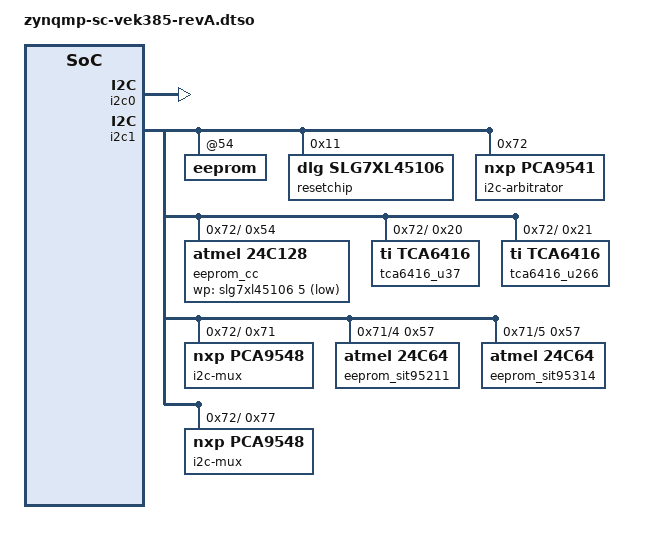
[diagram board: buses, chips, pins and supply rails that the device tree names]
// SPDX-License-Identifier: GPL-2.0
/*
 * dts file for SC on VEK385 revA (k24)
 *
 * (C) Copyright 2024, Advanced Micro Devices, Inc.
 *
 * Michal Simek <michal.simek@amd.com>
 */

#include <dt-bindings/gpio/gpio.h>

/dts-v1/;
/plugin/;

&{/} {
	compatible = "xlnx,zynqmp-sc-vek385-revA",
		     "xlnx,zynqmp-sc-vek385", "xlnx,zynqmp";
	model = "ZynqMP SC VEK385 revA";

	aliases {
		/* This is kind of HACK but works properly based on design */
		nvmem1 = "/axi/i2c@ff030000/i2c-arbitrator@72/i2c-arb/eeprom@54";
	};
};

&i2c0 { /* I2C_SCK C23/C24 - MIO 66/67 */
	status = "okay";
	/* board_i2c0 */
};

&i2c1 { /* I2C_SCK C23/C24 - MIO from SOM */
	#address-cells = <1>;
	#size-cells = <0>;

	/* Remove it because on vek385 it is behind pca9541 */
	/delete-node/ eeprom@54;
	eeprom@54 {
		compatible = "";
	};

	slg7xl45106: gpio@11 { /* u169 - reset logic */
		compatible = "dlg,slg7xl45106";
		reg = <0x11>;
		label = "resetchip";
		gpio-controller;
		#gpio-cells = <2>;
		gpio-line-names = "USB_PHY_RESET_B", "SC_PS_RESET_OUT2",
				  "SC_PS_RESET_OUT3", "SC_PS_RESET_OUT4",
				  "SC_PS_RESET_OUT5", "",
				  "EEPROM_WC_B", "PS_ETH_RST_B";
	};

	i2c-arbitrator@72 { /* u161 */
		compatible = "nxp,pca9541";
		reg = <0x72>;

		i2c-arb {
			#address-cells = <1>;
			#size-cells = <0>;

			eeprom_cc: eeprom@54 { /* u35 - required by spec - also at address 0x5C */
				compatible = "atmel,24c128";
				label = "eeprom_cc";
				reg = <0x54>;
				wp-gpios = <&slg7xl45106 5 GPIO_ACTIVE_LOW>;
			};

			tca6416_u37: gpio@20 { /* u37 */
				compatible = "ti,tca6416";
				reg = <0x20>;
				gpio-controller; /* interrupt on MIO69 */
				#gpio-cells = <2>;
				gpio-line-names = "VMON1_SLP", "VMON2_SLP", "VMON3_SLP", "", /* 0 - 3 */
						"PCIE_RP_i2C_ALERT_B", "PCIE_RP_CLKREQ_B", "PCIE_RP_PEWAKE_B", "", /* 4 - 7 */
						"FMCP1_FMC_PRSNT_M2C_B", "FMCP1_FMCP_PRSNT_M2C_B", "PMBUS4_INA_ALERT", "PMBUS3_INA_ALERT", /* 10 - 13 */
						"PMBUS2_INA_ALERT", "PMBUS1_INA_ALERT", "PMBUS1_NIRQ", "PMBUS1_ALERT"; /* 14 - 17 */
			};

			tca6416_u266: gpio@21 { /* u266 */
				compatible = "ti,tca6416";
				reg = <0x21>;
				gpio-controller; /* interrupt on MIO69 */
				#gpio-cells = <2>;
				gpio-line-names = "QSFP1_MODSELL", "QSFP1_RESETL", "QSFP1_MODPRSL", "QSFP1_INTL", /* 0 - 3 */
						"QSFP1_LPMODE", "", "", "", /* 4 - 7 */
						"SFP_TX_FAULT", "SFP_RX_LOS", "SFP_MOD_ABS", "SFP_TX_DISABLE", /* 10 - 13 */
						"SFP_RS0_R", "SFP_RS1_R", "", ""; /* 14 - 17 */
			};

			i2c-mux@71 { /* u162 */
				compatible = "nxp,pca9548";
				#address-cells = <1>;
				#size-cells = <0>;
				reg = <0x71>;
				i2c@0 {
					#address-cells = <1>;
					#size-cells = <0>;
					reg = <0>;
					/* pmbus1 */
					/* J1 connector */
					/* u256 mpq79730 0x8 */
					/* u254 mpq79730 0x9 */
					/* u255 mpq79730 0xa */
					/* u243 mpq79720 0xb */
					/* u245 mpq79720 0xc */
					/* u92 mpq2283 0x12 */
					/* u201 mpq2283 0x15 */
					/* u193 mpq2283 0x1a */
					/* u207 mpq2283 0x1c */
					/* u176 mpq2285 0x1d */
					/* u228 mpq72963 0x22 */
					/* u219 mpq72963 0x23 */
					/* u220 mpq72963 0x24 */
					/* u247 mpq79500 FIXME */
					/* u248 mpq79500 FIXME */
					/* u249 mpq79500 FIXME */
				};
				i2c@1 {
					#address-cells = <1>;
					#size-cells = <0>;
					reg = <1>;
					/* pmbus2 */
					/* J166 connector */
					/* u205 mpq2285 0x1 */
					/* u175 mpq2285 0x2 */
					/* u189 mpq2283 0x3 */
					/* u190 mpq2283 0x4 */
					/* u195 mpq2283 0x1e */
					/* u196 mpq2283 0x1f */
					/* u93 mpq2283 0x13 */
					/* u94 mpq2283 0x14 */
					/* u202 mpq2283 0x16 */
					/* u203 mpq2283 0x17 */
					/* u204 mpq2283 0x18 */
					/* u191 mpq2283 0x19 */
					/* u206 mpq2283 0x1b */
				};
				i2c@2 {
					#address-cells = <1>;
					#size-cells = <0>;
					reg = <2>;
					/* pmbus1_ina */
					/* u282 ina745a 0x40 vcc_fpd_bus */
					/* u233 ina745a 0x41 vcc_soc_io_bus */
					/* u283 ina700a 0x44 vcc_lpd */
					/* u284 ina700a 0x45 vccaux_lpd */
					/* u285 ina700a 0x46 vcco_50x */
					/* u286 ina700a 0x47 vcco_mipi_507 */
					/* u64 ina745a 0x48 vccint_bus1 */
					/* u275 ina745a 0x49 vccint_bus2 */
					/* u276 ina745a 0x4a vccint_bus3 */
					/* u277 ina745a 0x4b vccint_bus4 */
				};
				i2c@3 {
					#address-cells = <1>;
					#size-cells = <0>;
					reg = <3>;
					/* pmbus2_ina */
					/* u287 ina700a 0x44 vcciio_mipi_507 */
					/* u297 ina700a 0x45 util_5v0_in_bank504 */
					/* u288 ina700a 0x46 vccaux */
					/* u289 ina700a 0x48 vadj_fmc */
					/* u278 ina745a 0x48 vcc_aie_bus1 */
					/* u279 ina745a 0x49 vcc_aie_bus2 */
					/* u280 ina745a 0x4a vcc_aie_bus3 */
					/* u281 ina745a 0x4b vcc_aie_bus4 */
				};
				i2c@4 {
					#address-cells = <1>;
					#size-cells = <0>;
					reg = <4>;
					/* clkgen_sit95211 */
					/* u101 sit95211 0x69 - 12 outputs */
					eeprom_u166: eeprom@57 { /* u166 - required by spec - also at address 0x5F */
						compatible = "atmel,24c64";
						label = "eeprom_sit95211";
						reg = <0x57>;
					};

				};
				i2c@5 {
					#address-cells = <1>;
					#size-cells = <0>;
					reg = <5>;
					/* clkgen_sit95314 */
					/* u164 sit95314 0x69 - 4 outputs */
					eeprom_u165: eeprom@57 { /* u165 - required by spec - also at address 0x5F */
						compatible = "atmel,24c64";
						label = "eeprom_sit95314";
						reg = <0x57>;
					};
				};
				i2c@6 {
					#address-cells = <1>;
					#size-cells = <0>;
					reg = <6>;
					/* pmbus3_ina */
					/* u290 ina700a 0x44 vcco_40x */
					/* u291 ina700a 0x45 gtyp_avccaux */
					/* u292 ina700a 0x46 gtyp_avtt */
					/* u294 ina700a 0x47 vcco_7xx_lp5 */
				};
				i2c@7 {
					#address-cells = <1>;
					#size-cells = <0>;
					reg = <7>;
					/* pmbus4_ina */
					/* u293 ina700a 0x44 vcc_mmd */
					/* u295 ina700a 0x45 vcc_ram */
					/* u296 ina700a 0x46 gtyp_avcc */
				};
			};
			i2c-mux@77 { /* u253 */
				compatible = "nxp,pca9548";
				#address-cells = <1>;
				#size-cells = <0>;
				reg = <0x77>;
				i2c@0 {
					#address-cells = <1>;
					#size-cells = <0>;
					reg = <0>;
					/* qsfp1 */
				};
				i2c@1 {
					#address-cells = <1>;
					#size-cells = <0>;
					reg = <1>;
					/* sfp */
				};
				i2c@2 {
					#address-cells = <1>;
					#size-cells = <0>;
					reg = <2>;
					/* usbdp */
					/* u272 tps66993 FIXME */
				};
				i2c@3 {
					#address-cells = <1>;
					#size-cells = <0>;
					reg = <3>;
					/* pcie_rp */
				};
				i2c@4 {
					#address-cells = <1>;
					#size-cells = <0>;
					reg = <4>;
					/* usb0_hub */
					hub: usb-hub@74 { /* u111 - FIXME address is weird */
						compatible = "microchip,usb5744";
						status = "disabled";
						reg = <0x74>;
					};

				};
				/* 5 - 7 not connected */
			};
		};
	};
};
